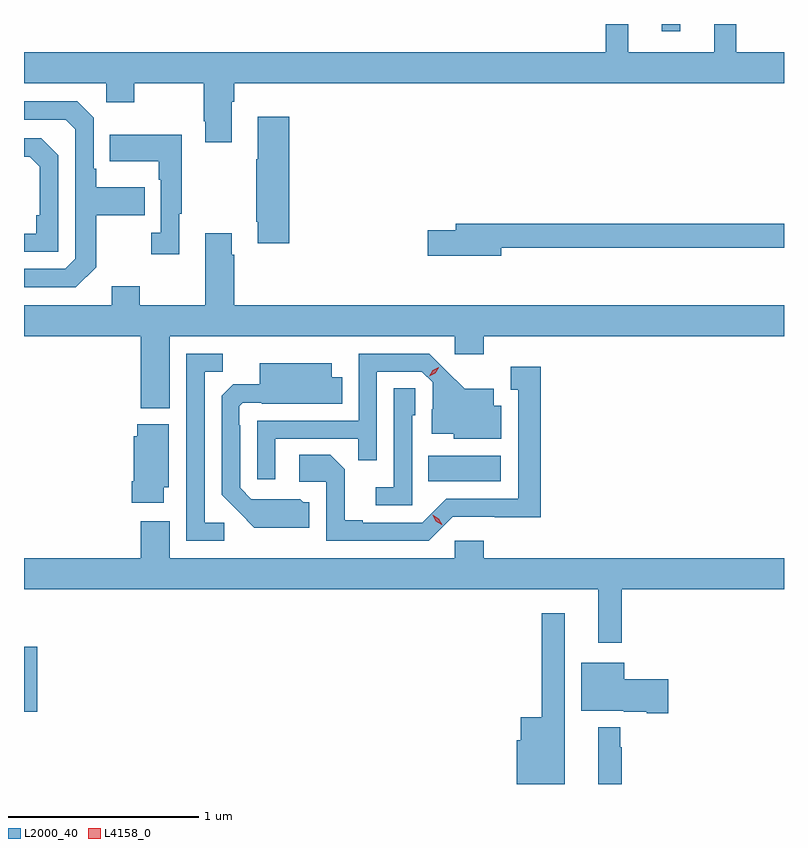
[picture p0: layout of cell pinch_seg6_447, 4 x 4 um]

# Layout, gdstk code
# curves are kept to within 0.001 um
import gdstk
lib = gdstk.Library(unit=1e-6, precision=1e-09)
def R(c, l, rs):  # rectangles x0, y0, x1, y1
    for r in rs: c.add(gdstk.rectangle(r[:2], r[2:], *l))
def P(c, l, *ps):  # polygons
    for p in ps: c.add(gdstk.Polygon(p, *l))
L2000_40 = (2000, 40)
L4158_0 = (4158, 0)

pinch_seg6_447 = lib.new_cell('pinch_seg6_447')
R(pinch_seg6_447, L2000_40, [(733.752,933.371,733.822,933.715), (735.88,934.586,736.261,934.72), (737.109,936.954,737.206,936.992)])
P(pinch_seg6_447, L2000_40, [(734.845,936.584),(734.858,936.584),(734.858,936.68),(737.752,936.68),(737.752,936.844),(737.501,936.844),(737.501,936.992),(737.384,936.992),(737.384,936.844),(736.931,936.844),(736.931,936.992),(736.813,936.992),(736.813,936.844),(733.752,936.844),(733.752,936.68),(734.184,936.68),(734.184,936.581),(734.331,936.581),(734.331,936.68),(734.698,936.68),(734.698,936.481),(734.705,936.481),(734.705,936.369),(734.845,936.369)],
  [(734.131,935.713),(734.131,935.986),(734.387,935.986),(734.387,936.133),(734.131,936.133),(734.131,936.229),(734.118,936.229),(734.118,936.498),(734.031,936.585),(733.752,936.585),(733.752,936.489),(733.971,936.489),(734.022,936.438),(734.022,935.757),(733.968,935.703),(733.752,935.703),(733.752,935.607),(734.025,935.607)],
  [(735.149,936.505),(734.981,936.505),(734.981,936.281),(734.974,936.281),(734.974,935.95),(734.981,935.95),(734.981,935.838),(735.149,935.838)],
  [(734.569,935.993),(734.581,935.993),(734.581,936.409),(734.203,936.409),(734.203,936.269),(734.46,936.269),(734.46,936.173),(734.472,936.173),(734.472,935.894),(734.421,935.894),(734.421,935.781),(734.569,935.781)],
  [(733.932,936.3),(733.842,936.39),(733.752,936.39),(733.752,936.293),(733.783,936.293),(733.836,936.24),(733.836,935.986),(733.816,935.986),(733.816,935.889),(733.752,935.889),(733.752,935.793),(733.932,935.793)],
  [(736.264,935.814),(737.752,935.814),(737.752,935.942),(736.025,935.942),(736.025,935.906),(735.876,935.906),(735.876,935.771),(736.264,935.771)],
  [(734.518,935.348),(736.02,935.348),(736.02,935.253),(736.172,935.253),(736.172,935.348),(737.752,935.348),(737.752,935.512),(734.858,935.512),(734.858,935.777),(734.845,935.777),(734.845,935.89),(734.705,935.89),(734.705,935.512),(734.361,935.512),(734.361,935.611),(734.213,935.611),(734.213,935.512),(733.752,935.512),(733.752,935.348),(734.366,935.348),(734.366,934.97),(734.518,934.97)],
  [(735.075,934.809),(735.511,934.809),(735.511,934.696),(735.609,934.696),(735.609,935.163),(735.846,935.163),(735.903,935.106),(735.903,934.964),(735.899,934.964),(735.899,934.835),(736.014,934.835),(736.014,934.808),(736.264,934.808),(736.264,934.984),(736.225,934.984),(736.225,935.071),(736.073,935.071),(735.886,935.256),(735.513,935.256),(735.513,934.905),(734.979,934.905),(734.979,934.596),(735.075,934.596)],
  [(734.806,934.368),(734.703,934.368),(734.703,935.161),(734.799,935.161),(734.799,935.256),(734.607,935.256),(734.607,934.272),(734.806,934.272)],
  [(735.253,934.476),(735.222,934.476),(735.206,934.492),(734.949,934.491),(734.889,934.551),(734.889,934.88),(734.886,934.88),(734.886,934.98),(734.904,934.998),(735.004,934.998),(735.004,934.994),(735.428,934.994),(735.428,935.134),(735.373,935.134),(735.373,935.206),(734.993,935.206),(734.993,935.095),(734.852,935.095),(734.793,935.036),(734.793,934.514),(734.965,934.34),(735.253,934.34)],
  [(736.008,934.398),(736.471,934.397),(736.471,935.188),(736.313,935.188),(736.313,935.067),(736.352,935.067),(736.352,934.494),(735.975,934.494),(735.849,934.368),(735.535,934.368),(735.535,934.381),(735.441,934.381),(735.441,934.648),(735.365,934.724),(735.201,934.724),(735.201,934.584),(735.342,934.584),(735.342,934.272),(735.882,934.272)],
  [(735.795,934.932),(735.81,934.932),(735.81,935.075),(735.699,935.075),(735.699,934.555),(735.603,934.555),(735.603,934.458),(735.795,934.458)],
  [(734.488,934.554),(734.515,934.554),(734.515,934.885),(734.348,934.885),(734.348,934.821),(734.33,934.821),(734.33,934.585),(734.318,934.585),(734.318,934.473),(734.488,934.473)],
  [(736.897,934.016),(737.752,934.016),(737.752,934.18),(736.172,934.18),(736.172,934.273),(736.02,934.273),(736.02,934.18),(734.518,934.18),(734.518,934.375),(734.366,934.375),(734.366,934.18),(733.752,934.18),(733.752,934.016),(736.775,934.016),(736.775,933.735),(736.897,933.735)],
  [(736.597,933.892),(736.476,933.892),(736.476,933.343),(736.367,933.343),(736.367,933.222),(736.346,933.222),(736.346,932.992),(736.597,932.992)],
  [(737.143,933.543),(736.912,933.543),(736.912,933.631),(736.685,933.631),(736.685,933.377),(736.908,933.377),(736.908,933.371),(737.03,933.371),(737.03,933.365),(737.143,933.365)],
  [(736.897,933.185),(736.889,933.185),(736.889,933.292),(736.775,933.292),(736.775,932.992),(736.897,932.992)])
P(pinch_seg6_447, L4158_0, [(735.951,934.356),(735.92,934.375),(735.902,934.407),(735.902,934.408),(735.902,934.408),(735.934,934.389),(735.952,934.356),(735.952,934.356)],
  [(735.886,935.139),(735.886,935.139),(735.903,935.169),(735.934,935.185),(735.934,935.185),(735.934,935.184),(735.917,935.155),(735.886,935.139)])

lib.write_gds('pinch_seg6_447.gds')
